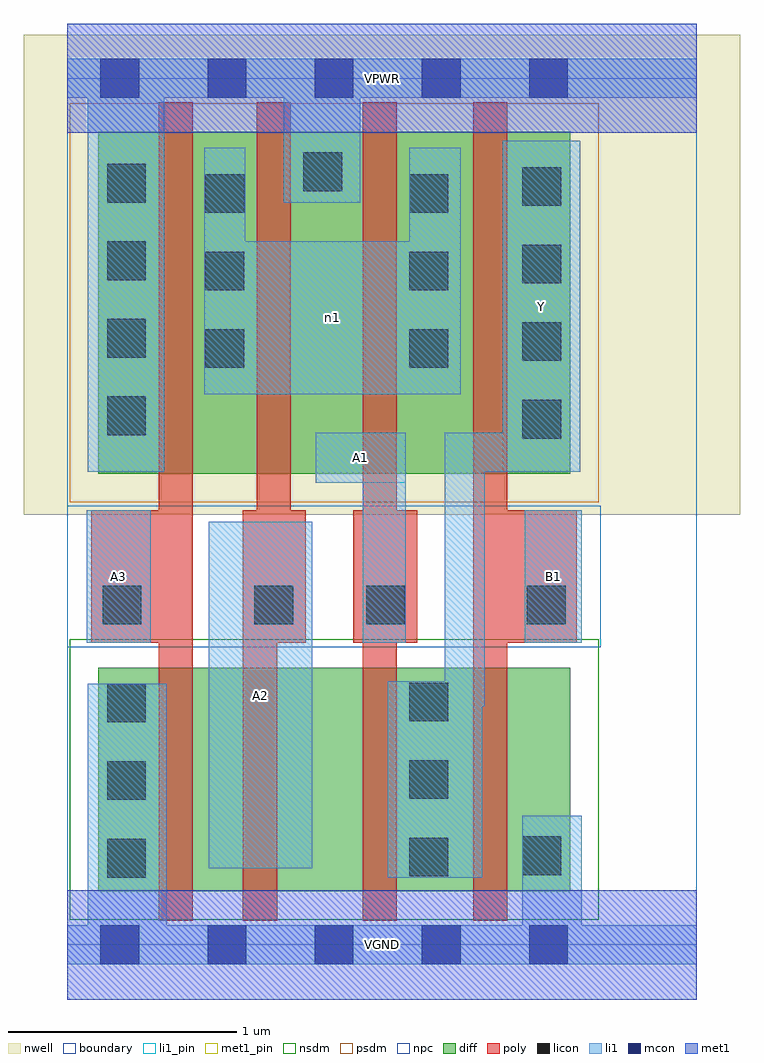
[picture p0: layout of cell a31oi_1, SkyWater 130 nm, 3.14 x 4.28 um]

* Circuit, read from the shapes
.subckt a31oi_1 A1 A2 A3 B1 VGND VPWR Y n1
XM1 n2 A3 VGND VSUBS sky130_fd_pr__nfet_01v8 w=0.98 l=0.15
XM2 n3 A2 n2 VSUBS sky130_fd_pr__nfet_01v8 w=0.98 l=0.15
XM3 Y A1 n3 VSUBS sky130_fd_pr__nfet_01v8 w=0.98 l=0.15
XM4 VGND B1 Y VSUBS sky130_fd_pr__nfet_01v8 w=0.98 l=0.15
XM5 n1 A3 VPWR n4 sky130_fd_pr__pfet_01v8 w=1.5 l=0.15
XM6 VPWR A2 n1 n4 sky130_fd_pr__pfet_01v8 w=1.5 l=0.15
XM7 n1 A1 VPWR n4 sky130_fd_pr__pfet_01v8 w=1.5 l=0.15
XM8 Y B1 n1 n4 sky130_fd_pr__pfet_01v8 w=1.5 l=0.15
.ends

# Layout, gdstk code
import gdstk
lib = gdstk.Library(unit=1e-6, precision=1e-09)
def R(c, l, rs):  # rectangles x0, y0, x1, y1
    for r in rs: c.add(gdstk.rectangle(r[:2], r[2:], *l))
def A(c, l, x, y, w, h, nx, ny, dx, dy):  # array of equal rectangles
    R(c, l, [(x+i*dx, y+j*dy, x+i*dx+w, y+j*dy+h) for i in range(nx) for j in range(ny)])
nwell = (64, 20)
diff = (65, 20)
poly = (66, 20)
licon = (66, 44)
li1_pin = (67, 16)
li1 = (67, 20)
mcon = (67, 44)
met1_pin = (68, 16)
met1 = (68, 20)
nsdm = (93, 44)
psdm = (94, 20)
npc = (95, 20)
boundary = (235, 4)

a31oi_1 = lib.new_cell('a31oi_1')
R(a31oi_1, nwell, [(-0.19,1.885,2.95,3.99), (0,1.885,2.76,3.99)])
R(a31oi_1, diff, [(0.135,0.235,2.205,1.215), (0.135,2.065,2.205,3.565)])
R(a31oi_1, poly, [(0.4,0.105,0.55,3.695), (0.77,0.105,0.92,1.905), (1.295,0.105,1.445,3.695), (1.78,0.105,1.93,3.695), (0.105,1.325,0.55,1.905), (0.77,1.325,1.045,1.905), (0.83,1.325,0.98,3.695), (1.255,1.325,1.535,1.905), (1.78,1.325,2.235,1.905)])
A(a31oi_1, licon, 0.175, 0.295, 0.17, 0.17, 1, 3, 0, 0.34)
A(a31oi_1, licon, 1.5, 0.3, 0.17, 0.17, 1, 3, 0, 0.34)
A(a31oi_1, licon, 1.995, 2.22, 0.17, 0.17, 1, 4, 0, 0.34)
A(a31oi_1, licon, 0.175, 2.235, 0.17, 0.17, 1, 4, 0, 0.34)
A(a31oi_1, licon, 0.605, 2.53, 0.17, 0.17, 1, 3, 0, 0.34)
A(a31oi_1, licon, 1.5, 2.53, 0.17, 0.17, 1, 3, 0, 0.34)
R(a31oi_1, licon, [(1.995,0.305,2.165,0.475), (0.155,1.405,0.325,1.575), (0.82,1.405,0.99,1.575), (1.31,1.405,1.48,1.575), (2.015,1.405,2.185,1.575), (1.035,3.305,1.205,3.475)])
R(a31oi_1, li1_pin, [(0.62,0.335,1.075,1.855), (0.085,1.325,0.365,1.905), (2.005,1.325,2.255,1.905), (1.09,2.025,1.485,2.245), (1.91,2.075,2.25,3.525)])
R(a31oi_1, li1, [(0,-0.085,2.76,0.085), (0.09,-0.085,0.435,1.145), (1.995,-0.085,2.255,0.565), (1.405,0.295,1.82,1.155), (0.62,0.335,1.075,1.855), (1.655,1.045,1.83,2.245), (0.085,1.325,0.365,1.905), (1.295,1.325,1.485,2.245), (2.005,1.325,2.255,1.905), (1.09,2.025,1.485,2.245), (0.09,2.075,0.425,3.885), (1.655,2.075,2.25,2.245), (1.91,2.075,2.25,3.525), (0.6,2.415,1.725,3.085), (0.6,2.415,0.78,3.495), (1.5,2.415,1.725,3.495), (0.95,3.255,1.285,3.885), (0,3.715,2.76,3.885)])
A(a31oi_1, mcon, 0.145, -0.085, 0.17, 0.17, 5, 2, 0.47, 3.8)
R(a31oi_1, met1_pin, [(0,-0.24,2.76,0.24), (0,3.56,2.76,4.04)])
R(a31oi_1, met1, [(0,-0.24,2.76,0.24), (0,3.56,2.76,4.04)])
R(a31oi_1, nsdm, [(0.01,0.11,2.33,1.34)])
R(a31oi_1, psdm, [(0.01,1.94,2.33,3.69)])
R(a31oi_1, npc, [(0,1.305,2.34,1.925)])
R(a31oi_1, boundary, [(0,0,2.76,3.8)])
a31oi_1.add(gdstk.Label('A1', (1.287,2.135), layer=67, texttype=5))
a31oi_1.add(gdstk.Label('A2', (0.847,1.095), layer=67, texttype=5))
a31oi_1.add(gdstk.Label('A3', (0.225,1.615), layer=67, texttype=5))
a31oi_1.add(gdstk.Label('B1', (2.13,1.615), layer=67, texttype=5))
a31oi_1.add(gdstk.Label('Y', (2.08,2.8), layer=67, texttype=5))
a31oi_1.add(gdstk.Label('n1', (1.162,2.75), layer=67, texttype=5))
a31oi_1.add(gdstk.Label('VPWR', (1.38,3.8), layer=68, texttype=5))
a31oi_1.add(gdstk.Label('VGND', (1.38,0), layer=68, texttype=5))
a31oi_1.add(gdstk.Label('A1', (1.287,2.135), layer=67, texttype=16))
a31oi_1.add(gdstk.Label('A2', (0.847,1.095), layer=67, texttype=16))
a31oi_1.add(gdstk.Label('A3', (0.225,1.615), layer=67, texttype=16))
a31oi_1.add(gdstk.Label('B1', (2.13,1.615), layer=67, texttype=16))
a31oi_1.add(gdstk.Label('Y', (2.08,2.8), layer=67, texttype=16))
a31oi_1.add(gdstk.Label('VPWR', (1.38,3.8), layer=68, texttype=16))
a31oi_1.add(gdstk.Label('VGND', (1.38,0), layer=68, texttype=16))

lib.write_gds('a31oi_1.gds')
